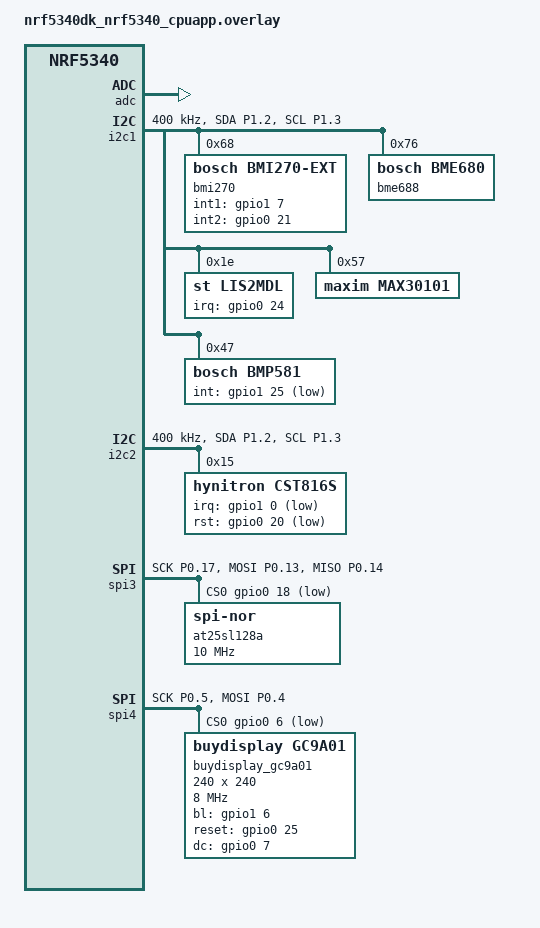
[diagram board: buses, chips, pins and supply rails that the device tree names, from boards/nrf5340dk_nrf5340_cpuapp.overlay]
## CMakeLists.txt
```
cmake_minimum_required(VERSION 3.20.0)

string(REGEX MATCH "zswatch_nrf5340_cpuapp(_ns)?@([0-9]+)$" ZSWATCH_BOARD "${BOARD}")
if(ZSWATCH_BOARD )
    set(ZSWATCH_REV ${CMAKE_MATCH_2})
    if(${ZSWATCH_REV} GREATER_EQUAL 2)
        set(DFU_BUILD true)
        set(PM_STATIC_YML_FILE ${CMAKE_CURRENT_SOURCE_DIR}/partition.yml)
        set(OVERLAY_CONFIG ${CMAKE_CURRENT_SOURCE_DIR}/boards/dfu.conf)
        set(mcuboot_DTC_OVERLAY_FILE ${CMAKE_CURRENT_SOURCE_DIR}/overlays/mcuboot.overlay)       
    endif()
endif()

set(BOARD_ROOT ${CMAKE_CURRENT_SOURCE_DIR})
find_package(Zephyr REQUIRED HINTS $ENV{ZEPHYR_BASE})
project(ZSWatchFw)

add_subdirectory(drivers)
add_subdirectory(src/applications)
add_subdirectory(src/ext_drivers/bmi270)
add_subdirectory(src/ext_drivers/bmp581)

include_directories(src/)
include_directories(src/ui)
include_directories(src/applications)

target_sources(app PRIVATE src/battery.c)
target_sources(app PRIVATE src/ble_aoa.c)
target_sources(app PRIVATE src/ble_comm.c)
target_sources(app PRIVATE src/ble_transport.c)
target_sources(app PRIVATE src/buttons.c)
target_sources(app PRIVATE src/display_control.c)
target_sources(app PRIVATE src/gpio_debug.c)
target_sources(app PRIVATE src/heart_rate_sensor.c)
target_sources(app PRIVATE src/main.c)
target_sources(app PRIVATE src/notification_manager.c)
target_sources(app PRIVATE src/ram_retention_storage.c)
target_sources(app PRIVATE src/vibration_motor.c)
target_sources(app PRIVATE src/watchface_app.c)
target_sources(app PRIVATE src/zsw_battery_manager.c)
target_sources(app PRIVATE src/zsw_clock.c)
target_sources(app PRIVATE src/zsw_charger.c)
target_sources(app PRIVATE src/zsw_cpu_freq.c)
target_sources(app PRIVATE src/zsw_env_sensor.c)
target_sources(app PRIVATE src/zsw_gatt_sensor_server.c)
target_sources(app PRIVATE src/zsw_imu.c)
target_sources(app PRIVATE src/zsw_magnetometer.c)
target_sources(app PRIVATE src/zsw_periodic_event.c)
target_sources(app PRIVATE src/zsw_phone_app_publisher.c)
target_sources(app PRIVATE src/zsw_power_manager.c)
target_sources(app PRIVATE src/zsw_pressure_sensor.c)

if (DFU_BUILD)
    target_sources(app PRIVATE src/dfu.c)
endif()

FILE(GLOB img_sources src/images/*.c)
target_sources(app PRIVATE ${img_sources})

FILE(GLOB font_sources src/images/fonts/*.c)
target_sources(app PRIVATE ${font_sources})

FILE(GLOB ui_sources src/ui/*.c)
target_sources(app PRIVATE ${ui_sources})
zephyr_sources_ifdef(CONFIG_WATCHFACE_ANALOG src/ui/watchfaces/zsw_watchface_analog_ui.c)
zephyr_sources_ifdef(CONFIG_WATCHFACE_DIGITAL src/ui/watchfaces/zsw_watchface_digital_ui.c)
zephyr_sources_ifdef(CONFIG_WATCHFACE_MINIMAL src/ui/watchfaces/zsw_watchface_minimal_ui.c)


FILE(GLOB events_sources src/events/*.c)
target_sources(app PRIVATE ${events_sources})

add_compile_definitions(LV_LVGL_H_INCLUDE_SIMPLE)

# BME688 BSEC implementation
set(bme688_bsec_lib_path ${CMAKE_CURRENT_SOURCE_DIR}/lib/bme688_bsec)
target_link_libraries(app PRIVATE ${bme688_bsec_lib_path}/bin/gcc/Cortex_M33/libalgobsec.a)
target_include_directories(app PRIVATE ${bme688_bsec_lib_path}/inc)
target_sources(app PRIVATE src/bme688_bsec/bme688_bsec.c)
```

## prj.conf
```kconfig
CONFIG_LV_Z_MEM_POOL_NUMBER_BLOCKS=8
CONFIG_MAIN_STACK_SIZE=1024
CONFIG_SYSTEM_WORKQUEUE_STACK_SIZE=4096
CONFIG_HEAP_MEM_POOL_SIZE=25000
CONFIG_NEWLIB_LIBC_FLOAT_PRINTF=y
CONFIG_CBPRINTF_FP_SUPPORT=y

CONFIG_ASSERT=y
CONFIG_REBOOT=y
CONFIG_DISPLAY=y
CONFIG_BASE64=y

CONFIG_I2C=y
CONFIG_SENSOR=y
CONFIG_ADC=y
CONFIG_BMI270=n
CONFIG_LIS2MDL=y
CONFIG_BME680=y


CONFIG_MAX30101=y
CONFIG_MAX30101_MULTI_LED_MODE=y
CONFIG_MAX30101_SLOT1=1
CONFIG_MAX30101_SLOT2=2
CONFIG_MAX30101_SLOT3=3
CONFIG_MAX30101_SLOT4=0

CONFIG_PINCTRL=y
CONFIG_PM_DEVICE=y
CONFIG_PM_DEVICE_RUNTIME=y

CONFIG_PWM=y

CONFIG_SPI=y
CONFIG_GC9A01=y
CONFIG_KSCAN_CST816S=n
CONFIG_KSCAN_MODIFIED_CST816S=y
CONFIG_KSCAN_CST816S_INTERRUPT=y
CONFIG_KSCAN=y
CONFIG_LV_Z_POINTER_KSCAN=y
CONFIG_LV_Z_POINTER_KSCAN_SWAP_XY=y
CONFIG_LV_Z_POINTER_KSCAN_INVERT_X=y
CONFIG_REGULATOR=y
CONFIG_REGULATOR_FIXED=y

CONFIG_LVGL=y
CONFIG_LV_MEM_CUSTOM=y
CONFIG_LV_FONT_MONTSERRAT_10=y
CONFIG_LV_FONT_MONTSERRAT_12=y
CONFIG_LV_FONT_MONTSERRAT_14=y
CONFIG_LV_FONT_MONTSERRAT_16=y
CONFIG_LV_FONT_MONTSERRAT_18=y
CONFIG_LV_FONT_MONTSERRAT_20=y

# Comment out to show FPS counter
#CONFIG_LV_USE_PERF_MONITOR=y
#CONFIG_LV_PERF_MONITOR_ALIGN_RIGHT_MID=y

CONFIG_LV_Z_DOUBLE_VDB=n
CONFIG_LV_Z_VDB_SIZE=25
CONFIG_LV_DISP_DEF_REFR_PERIOD=30
CONFIG_LV_INDEV_DEF_READ_PERIOD=30

CONFIG_LV_THEME_DEFAULT_DARK=y

# LVGL Size optimizations
CONFIG_LV_LABEL_TEXT_SELECTION=n
CONFIG_LV_LABEL_LONG_TXT_HINT=n
CONFIG_LV_USE_LOG=n
CONFIG_LV_USE_BAR=y
CONFIG_LV_USE_CANVAS=n
CONFIG_LV_USE_CHECKBOX=n
CONFIG_LV_USE_DROPDOWN=n
CONFIG_LV_USE_LINE=y
CONFIG_LV_USE_ROLLER=n
CONFIG_LV_USE_SLIDER=y
CONFIG_LV_USE_SWITCH=y
CONFIG_LV_USE_TABLE=n
CONFIG_LV_USE_TEXTAREA=n
CONFIG_LV_USE_FLEX=y
CONFIG_LV_USE_ANIMIMG=y
CONFIG_LV_USE_CALENDAR=n
CONFIG_LV_USE_CHART=y
CONFIG_LV_USE_COLORWHEEL=n
CONFIG_LV_USE_IMGBTN=y
CONFIG_LV_USE_KEYBOARD=n
CONFIG_LV_USE_LED=n
CONFIG_LV_USE_LIST=y
CONFIG_LV_USE_MENU=y
CONFIG_LV_USE_METER=y
CONFIG_LV_USE_MSGBOX=y
CONFIG_LV_USE_SPINBOX=n
CONFIG_LV_USE_SPINNER=n
CONFIG_LV_USE_TABVIEW=n
CONFIG_LV_USE_TILEVIEW=n
CONFIG_LV_USE_WIN=n
CONFIG_LV_USE_SPAN=n
CONFIG_LV_USE_USER_DATA=y

CONFIG_LV_COLOR_16_SWAP=y
CONFIG_LV_COLOR_DEPTH_16=y

#
# Memory settings
#
# CONFIG_LV_MEM_CUSTOM is not set
CONFIG_LV_MEM_SIZE_KILOBYTES=25
CONFIG_LV_MEM_ADDR=0x0
CONFIG_LV_MEM_BUF_MAX_NUM=16
# end of Memory settings

# NVS
CONFIG_FLASH=y
CONFIG_FLASH_MAP=y
CONFIG_MPU_ALLOW_FLASH_WRITE=y
CONFIG_FLASH_PAGE_LAYOUT=y

# Filesystem
CONFIG_FILE_SYSTEM=y
CONFIG_FILE_SYSTEM_LITTLEFS=y

CONFIG_SETTINGS=y
CONFIG_NVS=y
CONFIG_SETTINGS_NVS=y

# Bluetooth
CONFIG_BT=y
CONFIG_BT_HCI=y
CONFIG_BT_CTLR=n
# Enable Direction Finding TX Feature including AoA and AoD
CONFIG_BT_DF=y
CONFIG_BT_DF_CONNECTIONLESS_CTE_TX=y
#CONFIG_BT_RX_STACK_SIZE=2048
# Enable chaining of multiple CTEs in periodic advertising
CONFIG_BT_DEBUG_LOG=n
CONFIG_BT_SMP=y
CONFIG_BT_PERIPHERAL=y
CONFIG_BT_DIS=y
CONFIG_BT_DIS_PNP=n
CONFIG_BT_BAS=y
CONFIG_BT_HRS=n
CONFIG_BT_DEVICE_NAME="ZSWatch"
CONFIG_BT_DEVICE_APPEARANCE=194
CONFIG_BT_KEYS_OVERWRITE_OLDEST=y
CONFIG_BT_SETTINGS=y
CONFIG_BT_MAX_PAIRED=5
CONFIG_BT_MAX_CONN=1
CONFIG_BT_GATT_CLIENT=y
CONFIG_BT_GATT_CACHING=y
CONFIG_BT_GATT_NOTIFY_MULTIPLE=y

CONFIG_BT_EXT_ADV=y
CONFIG_BT_PER_ADV=y

CONFIG_BT_BROADCASTER=y
CONFIG_BT_SMP_ALLOW_UNAUTH_OVERWRITE=y
CONFIG_BT_ECC=y
CONFIG_BT_EXT_ADV_MAX_ADV_SET=2
CONFIG_BT_CONN_TX_MAX=3

CONFIG_BT_L2CAP_TX_MTU=498
CONFIG_BT_BUF_ACL_RX_SIZE=502
CONFIG_BT_BUF_ACL_TX_SIZE=502

# Allows to do some basic UI tasks in BT callbacks.
CONFIG_BT_RX_STACK_SIZE=3000

CONFIG_NEWLIB_LIBC=y
CONFIG_POSIX_API=y

CONFIG_PM=y

# Size optimizations
#CONFIG_SIZE_OPTIMIZATIONS=y
# CONFIG_THREAD_STACK_INFO=n

# By default disable UART to save power
CONFIG_SERIAL=n
CONFIG_CONSOLE=n
CONFIG_UART_CONSOLE=n

CONFIG_ZBUS=y
CONFIG_ZBUS_RUNTIME_OBSERVERS_POOL_SIZE=5
CONFIG_ZBUS_CHANNEL_NAME=y
CONFIG_ZBUS_OBSERVER_NAME=y
CONFIG_DISPLAY_FAST_WAKEUP=y
# Disable this to exclude flash intensive apps mean for demo only
CONFIG_DEMO_BUILD=n

# Choose one or many of below
CONFIG_WATCHFACE_ANALOG=n
CONFIG_WATCHFACE_DIGITAL=y
CONFIG_WATCHFACE_MINIMAL=y

# Choose one of below
CONFIG_WATCHFACE_BACKGROUND_SPACE=y
CONFIG_WATCHFACE_BACKGROUND_FLOWER=n
CONFIG_WATCHFACE_BACKGROUND_PLANET=n
CONFIG_WATCHFACE_BACKGROUND_NONE=n

CONFIG_LOG_BACKEND_BLE=y
CONFIG_LOG=y
CONFIG_LOG_PROCESS_THREAD_STACK_SIZE=4096
```

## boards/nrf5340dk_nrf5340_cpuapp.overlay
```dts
/*
 * Copyright (c) 2023 Jakob Krantz
 *
 * SPDX-License-Identifier: Apache-2.0
 */

 &pinctrl {
    // Set to I2C pins that the sensors are connected to
    i2c1_default: i2c1_default {
        group1 {
            psels = <NRF_PSEL(TWIM_SDA, 1, 2)>,
                <NRF_PSEL(TWIM_SCL, 1, 3)>;
        };
    };

    i2c1_sleep: i2c1_sleep {
        group1 {
            psels = <NRF_PSEL(TWIM_SDA, 1, 2)>,
                <NRF_PSEL(TWIM_SCL, 1, 3)>;
            low-power-enable;
        };
    };

    // Set to I2C pins that the touch screen is connected to
    i2c2_default: i2c2_default {
        group1 {
            psels = <NRF_PSEL(TWIM_SDA, 1, 2)>,
                <NRF_PSEL(TWIM_SCL, 1, 3)>;
        };
    };

    i2c2_sleep: i2c2_sleep {
        group1 {
            psels = <NRF_PSEL(TWIM_SDA, 1, 2)>,
                <NRF_PSEL(TWIM_SCL, 1, 3)>;
            low-power-enable;
        };
    };

	spi3_default: spi3_default {
		group1 {
			psels = <NRF_PSEL(SPIM_SCK, 0, 17)>,
				<NRF_PSEL(SPIM_MOSI, 0, 13)>,
				<NRF_PSEL(SPIM_MISO, 0, 14)>;
			};
	};

	spi3_sleep: spi3_sleep {
		group1 {
			psels = <NRF_PSEL(SPIM_SCK, 0, 17)>,
				<NRF_PSEL(SPIM_MOSI, 0, 13)>,
				<NRF_PSEL(SPIM_MISO, 0, 14)>;
			low-power-enable;
		};
	};

    // Set to the pins that the display is connected to
    spi4_default: spi4_default {
        group1 {
            psels = <NRF_PSEL(SPIM_SCK, 0, 5)>,
                <NRF_PSEL(SPIM_MOSI, 0, 4)>;
        };
    };

    spi4_sleep: spi4_sleep {
        group1 {
            psels = <NRF_PSEL(SPIM_SCK, 0, 5)>,
                <NRF_PSEL(SPIM_MOSI, 0, 4)>;
            low-power-enable;
        };
    };

};

/ {
    chosen {
        zephyr,display = &gc9a01;
        zephyr,keyboard-scan = &cst816s;
        nordic,pm-ext-flash = &at25sl128a;
    };
    aliases {
        sw-top-right = &button1;
        sw-top-left = &button0;
        sw-bottom-right = &button3;
        sw-bottom-left = &button2;
        magn = &lis2mdl;
        accel = &bmi270;
        kscan0 = &cst816s;
    };
};

&adc {
    status = "okay";
};

&gpiote {
    status = "okay";
};

&gpio0 {
    status = "okay";
    sense-edge-mask = < 0xffffffff >;
};

&gpio1 {
    status = "okay";
};

&i2c1 {
    compatible = "nordic,nrf-twim";
    status = "okay";
    clock-frequency = <I2C_BITRATE_FAST>;
    zephyr,concat-buf-size = <512>;
    pinctrl-0 = <&i2c1_default>;
    pinctrl-1 = <&i2c1_sleep>;
    pinctrl-names = "default", "sleep";

    bmi270: bmi270@68 {
        compatible = "bosch,bmi270-ext";
        reg = <0x68>;
        int1-gpios = <&gpio1 7 GPIO_ACTIVE_HIGH>;
        int2-gpios = <&gpio0 21 GPIO_ACTIVE_HIGH>;
    };

    bme688: bme688@76 {
        compatible = "bosch,bme680";
        reg = <0x76>;
    };

    lis2mdl: lis2mdl@1e {
        compatible = "st,lis2mdl";
        reg = <0x1e>;
        irq-gpios = <&gpio0 24 0>;
    };

    max30101@57 {
        status = "okay";
        compatible = "maxim,max30101";
        reg = <0x57>;
        //irq-gpios = <&gpio0 22 GPIO_ACTIVE_HIGH; // Not supported by Zephyr driver
    };

    bmp581: bmp581@47 {
        compatible = "bosch,bmp581";
        reg = <0x47>;
        int-gpios = <&gpio1 25 (GPIO_PULL_UP | GPIO_ACTIVE_LOW)>;
    };
};

&i2c2 {
    compatible = "nordic,nrf-twim";
    status = "okay";
    clock-frequency = <I2C_BITRATE_FAST>;
    pinctrl-0 = <&i2c2_default>;
    pinctrl-1 = <&i2c2_sleep>;
    pinctrl-names = "default", "sleep";

    cst816s: cst816s@15 {
        compatible = "hynitron,cst816s";
        reg = <0x15>;
        irq-gpios = <&gpio1 0 GPIO_ACTIVE_LOW>;
        rst-gpios = <&gpio0 20 GPIO_ACTIVE_LOW>;
    };
};

&spi3  {
    status = "okay";
    compatible = "nordic,nrf-spim";
    pinctrl-0 = <&spi3_default>;
    pinctrl-1 = <&spi3_sleep>;
    pinctrl-names = "default", "sleep";
    // Use Integrated flash MX25R6435F from DK 
    cs-gpios = <&gpio0 18 GPIO_ACTIVE_LOW>;
    at25sl128a: at25sl128a@0 {
		compatible = "jedec,spi-nor";
		reg = <0>;
		status = "okay";
		spi-max-frequency = <10000000>;
		jedec-id = [c2 28 17];
		size = <DT_SIZE_M(8*8)>;
		has-dpd;
		t-enter-dpd = <10000>;
		t-exit-dpd = <35000>;
	};

};

&spi4  {
    status = "okay";
    compatible = "nordic,nrf-spim";
    pinctrl-0 = <&spi4_default>;
    pinctrl-1 = <&spi4_sleep>;
    pinctrl-names = "default", "sleep";
    cs-gpios = <&gpio0 6 GPIO_ACTIVE_LOW>;

    gc9a01: gc9a01@0 {
        compatible = "buydisplay,gc9a01";
        status = "okay";
        spi-max-frequency = <8000000>;
        reg = <0>;
        width = <240>;
        label = "buydisplay_gc9a01";
        height = <240>;
        bl-gpios = <&gpio1 6 GPIO_ACTIVE_HIGH>;
        reset-gpios = <&gpio0 25 GPIO_ACTIVE_HIGH>;
        dc-gpios = <&gpio0 7 GPIO_ACTIVE_HIGH>;
    };
};

&qspi{
    status="disabled";
};
```

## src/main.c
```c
#include <zephyr/device.h>
#include <zephyr/drivers/display.h>
#include <zephyr/sys/reboot.h>
#include <stdio.h>
#include <string.h>
#include <zephyr/kernel.h>
#include <buttons.h>
#include <battery.h>
#include <gpio_debug.h>
#include <zephyr/drivers/sensor.h>
#include <zephyr/drivers/pwm.h>
#include <zephyr/bluetooth/bluetooth.h>
#include <zephyr/settings/settings.h>
#include <zephyr/drivers/led.h>
#include <zephyr/logging/log.h>
#include <zsw_clock.h>
#include <lvgl.h>
#include "watchface_app.h"
#include <heart_rate_sensor.h>
#include <sys/time.h>
#include <ram_retention_storage.h>
#include <zsw_imu.h>
#include <ble_comm.h>
#include <ble_aoa.h>
#include <zsw_popup_notifcation.h>
#include <notification_manager.h>
#include <vibration_motor.h>
#include <display_control.h>
#include <applications/application_manager.h>
#include <events/ble_data_event.h>
#include <events/accel_event.h>
#include <zsw_magnetometer.h>
#include <zsw_pressure_sensor.h>
#include <zephyr/zbus/zbus.h>
#include <zsw_cpu_freq.h>
#include <zsw_charger.h>
#include <zsw_power_manager.h>
#include <zephyr/bluetooth/bluetooth.h>
#include <zephyr/bluetooth/hci.h>
#include <zephyr/task_wdt/task_wdt.h>
#include <zephyr/arch/cpu.h>
#include <zephyr/logging/log_ctrl.h>
#include <zephyr/fatal.h>
#include "bme688_bsec/bme688_bsec.h"
#include "dfu.h"

LOG_MODULE_REGISTER(main, LOG_LEVEL_WRN);

#define TASK_WDT_FEED_INTERVAL_MS  3000

typedef enum ui_state {
    INIT_STATE,
    WATCHFACE_STATE,
    APPLICATION_MANAGER_STATE,
} ui_state_t;

static void run_init_work(struct k_work *item);

static void run_wdt_work(struct k_work *item);
static void enable_bluetoth(void);
static bool load_retention_ram(void);
static void enocoder_read(struct _lv_indev_drv_t *indev_drv, lv_indev_data_t *data);
static void click_feedback(struct _lv_indev_drv_t *drv, uint8_t e);
static void play_not_vibration(void);
static void ble_data_cb(ble_comm_cb_data_t *cb);
static void open_notification_popup(void *data);
static void async_turn_off_buttons_allocation(void *unused);
static void on_popup_notifcation_closed(uint32_t id);
static void zbus_ble_comm_data_callback(const struct zbus_channel *chan);

static void onButtonPressCb(buttonPressType_t type, buttonId_t id);
static void screen_gesture_event(lv_event_t *e);

static void open_application_manager_page(void *app_name);
static void on_close_application_manager(void);

K_WORK_DELAYABLE_DEFINE(wdt_work, run_wdt_work);
static int kernal_wdt_id;

static bool buttons_allocated = false;
static lv_group_t *input_group;
static lv_group_t *temp_group;

static lv_indev_drv_t enc_drv;
static lv_indev_t *enc_indev;
static buttonId_t last_pressed;

static bool vibrator_on = false;

static ui_state_t watch_state = INIT_STATE;

K_WORK_DEFINE(init_work, run_init_work);

ZBUS_CHAN_DECLARE(ble_comm_data_chan);
ZBUS_LISTENER_DEFINE(main_ble_comm_lis, zbus_ble_comm_data_callback);

static void run_init_work(struct k_work *item)
{
    bme688_init();
    enable_bluetoth();

/*
    lv_indev_t *touch_indev;

    load_retention_ram();
    heart_rate_sensor_init();
    notification_manager_init();
    enable_bluetoth();
    zsw_imu_init();
    zsw_magnetometer_init();
    zsw_pressure_sensor_init();
    zsw_clock_init(retained.current_time_seconds);
    buttonsInit(&onButtonPressCb);
    vibration_motor_init();
    vibration_motor_set_on(false);
    // Not to self, PWM consumes like 250uA...
    // Need to disable also when screen is off.
    display_control_init();
    display_control_sleep_ctrl(true);

    lv_indev_drv_init(&enc_drv);
    enc_drv.type = LV_INDEV_TYPE_ENCODER;
    enc_drv.read_cb = enocoder_read;
    enc_drv.feedback_cb = click_feedback;
    enc_indev = lv_indev_drv_register(&enc_drv);

    input_group = lv_group_create();
    temp_group = lv_group_create();
    lv_group_set_default(input_group);
    lv_indev_set_group(enc_indev, input_group);

    touch_indev = lv_indev_get_next(NULL);
    while (touch_indev) {
        if (lv_indev_get_type(touch_indev) == LV_INDEV_TYPE_POINTER) {
            // TODO First fix so not all presses everywhere are registered as clicks and cause vibration
            // Clicking anywehere with this below added right now will cause a vibration, which
            // is not what we want
            // touch_indev->driver->feedback_cb = click_feedback;
            break;
        }
        touch_indev = lv_indev_get_next(touch_indev);
    }

    watch_state = WATCHFACE_STATE;
    lv_obj_add_event_cb(lv_scr_act(), screen_gesture_event, LV_EVENT_GESTURE, NULL);
    watchface_app_start(input_group);
*/
}

void run_wdt_work(struct k_work *item)
{
    task_wdt_feed(kernal_wdt_id);
    k_work_schedule(&wdt_work, K_MSEC(TASK_WDT_FEED_INTERVAL_MS));
}

int main(void)
{
#ifdef CONFIG_TASK_WDT
    const struct device *hw_wdt_dev = DEVICE_DT_GET(DT_ALIAS(watchdog0));
    if (!device_is_ready(hw_wdt_dev)) {
        printk("Hardware watchdog %s is not ready; ignoring it.\n",
               hw_wdt_dev->name);
        hw_wdt_dev = NULL;
    }

    task_wdt_init(hw_wdt_dev);
    kernal_wdt_id = task_wdt_add(TASK_WDT_FEED_INTERVAL_MS * 2, NULL, NULL);

    k_work_schedule(&wdt_work, K_NO_WAIT);
#endif
    // The init code requires a bit of stack.
    // So in order to not increase CONFIG_MAIN_STACK_SIZE and loose
    // this RAM forever, instead re-use the system workqueue for init
    // it has the required amount of stack.
    k_work_submit(&init_work);

    return 0;
}

static void enable_bluetoth(void)
{
    int err;

#ifdef CONFIG_BOARD_NATIVE_POSIX
    bt_addr_le_t addr;

    err = bt_addr_le_from_str("DE:AD:BE:EF:BA:11", "random", &addr);
    if (err) {
        LOG_ERR("Invalid BT address (err %d)", err);
    }

    err = bt_id_create(&addr, NULL);
    if (err < 0) {
        LOG_ERR("Creating new ID failed (err %d)", err);
    }
#endif

    err = bt_enable(NULL);
    if (err != 0) {
        LOG_ERR("Failed to enable Bluetooth, err: %d", err);
        return;
    }

#ifdef CONFIG_SETTINGS
    settings_load();
#endif

    __ASSERT_NO_MSG(ble_comm_init(ble_data_cb) == 0);
    bleAoaInit();
}

static bool load_retention_ram(void)
{
    bool retained_ok = retained_validate();
    //memset(&retained, 0, sizeof(retained));
    /* Increment for this boot attempt and update. */
    retained.boots += 1;
    retained_update();

    printk("Retained data: %s\n", retained_ok ? "valid" : "INVALID");
    printk("Boot count: %u\n", retained.boots);
    printk("uptime_latest: %" PRIu64 "\n", retained.uptime_latest);
    printk("Active Ticks: %" PRIu64 "\n", retained.uptime_sum);

    return retained_ok;
}

static void open_notification_popup(void *data)
{
    not_mngr_notification_t *not = notification_manager_get_newest();
    if (not != NULL) {
        lv_group_set_default(temp_group);
        lv_indev_set_group(enc_indev, temp_group);
        play_not_vibration();
        zsw_notification_popup_show(not->title, not->body, not->src, not->id, on_popup_notifcation_closed, 10);
        buttons_allocated = true;
    }
}

static void open_application_manager_page(void *app_name)
{
    watchface_app_stop();
    buttons_allocated = true;
    watch_state = APPLICATION_MANAGER_STATE;
    application_manager_show(on_close_application_manager, lv_scr_act(), input_group, (char *)app_name);
}

static void play_press_vibration(void)
{
    vibrator_on = true;
    vibration_motor_set_on(true);
    vibration_motor_set_power(75);
    k_msleep(100);
    vibration_motor_set_power(75);
    vibration_motor_set_on(false);
    vibration_motor_set_power(0);
    vibrator_on = false;
}

static void play_not_vibration(void)
{
    vibrator_on = true;
    vibration_motor_set_power(100);
    vibration_motor_set_on(true);
    k_msleep(50);
    vibration_motor_set_on(false);
    k_msleep(50);
    vibration_motor_set_on(true);
    k_msleep(50);
    vibration_motor_set_on(false);
    k_msleep(50);
    vibration_motor_set_power(0);
    vibration_motor_set_on(true);
    k_msleep(50);
    vibration_motor_set_on(false);
    vibrator_on = false;
}

static void close_popup_notification(lv_timer_t *timer)
{
    // Notification was dismissed, hence consider it read.
    // TODO send to phone that the notification was read.
    uint32_t id = (uint32_t)timer->user_data;
    notification_manager_remove(id);

    lv_group_set_default(input_group);
    lv_indev_set_group(enc_indev, input_group);
    if (watch_state == WATCHFACE_STATE) {
        buttons_allocated = 0;
    } else {
        buttons_allocated = 1;
    }
}

static void on_popup_notifcation_closed(uint32_t id)
{
    lv_timer_t *timer;
    // Changing back input group directly here causes LVGL
    // to not remove the notifcation for some reason.
    // Maybe a bug, or something done wrong.
    // Anyway doing it after a while instead seems to fix
    // the problem.
    timer = lv_timer_create(close_popup_notification, 500,  (void *)id);
    lv_timer_set_repeat_count(timer, 1);
}

static void on_close_application_manager(void)
{
    application_manager_delete();
    watch_state = WATCHFACE_STATE;
    watchface_app_start(input_group);
    lv_async_call(async_turn_off_buttons_allocation, NULL);
}

static void async_turn_off_buttons_allocation(void *unused)
{
    buttons_allocated = false;
}

static void onButtonPressCb(buttonPressType_t type, buttonId_t id)
{
    LOG_WRN("Pressed %d, type: %d", id, type);

    if (zsw_power_manager_reset_idle_timout()) {
        // Don't process the press if it caused wakeup.
        return;
    }

    // Always allow force restart
    if (type == BUTTONS_LONG_PRESS && id == BUTTON_TOP_LEFT) {
        retained.off_count += 1;
        retained_update();
        sys_reboot(SYS_REBOOT_COLD);
    }

    if (id == BUTTON_BOTTOM_RIGHT && zsw_notification_popup_is_shown()) {
        zsw_notification_popup_remove();
    } else if (id == BUTTON_BOTTOM_RIGHT && watch_state == APPLICATION_MANAGER_STATE) {
        application_manager_exit_app();
        return;
    }

    if (buttons_allocated) {
        // Handled by LVGL
        return;
    }

    // A bit hacky, but if we consumed the fake press in the callback
    // we need to clear it, otherwise LVGL will think the button is still pressed later.
    // Clear it by reading the button.
    button_read(id);

    if (type == BUTTONS_SHORT_PRESS && watch_state == WATCHFACE_STATE) {
        play_press_vibration();
        if (id == BUTTON_TOP_LEFT) {
            LOG_DBG("Close Watchface, open App Manager");
            lv_async_call(open_application_manager_page, NULL);
        } else {
            LOG_WRN("Unhandled button %d, type: %d, watch_state: %d", id, type, watch_state);
        }
    } else {
        if (id == BUTTON_TOP_LEFT) {
            retained.off_count += 1;
            retained_update();
            sys_reboot(SYS_REBOOT_COLD);
        } else {
            LOG_WRN("Unhandled button %d, type: %d, watch_state: %d", id, type, watch_state);
        }
    }
}

static void enocoder_read(struct _lv_indev_drv_t *indev_drv, lv_indev_data_t *data)
{
    if (!buttons_allocated) {
        return;
    }
    if (button_read(BUTTON_TOP_LEFT)) {
        data->key = LV_KEY_LEFT;
        data->state = LV_INDEV_STATE_PR;
        last_pressed = BUTTON_TOP_LEFT;
    } else if (button_read(BUTTON_TOP_RIGHT)) {
        data->key = LV_KEY_ENTER;
        data->state = LV_INDEV_STATE_PR;
        last_pressed = BUTTON_TOP_RIGHT;
    } else if (button_read(BUTTON_BOTTOM_LEFT)) {
        data->key = LV_KEY_RIGHT;
        data->state = LV_INDEV_STATE_PR;
        last_pressed = BUTTON_BOTTOM_LEFT;
    } else if (button_read(BUTTON_BOTTOM_RIGHT)) {
        // Not used for now. TODO exit/back button.
    } else {
        if (last_pressed == 0xFF) {
            return;
        }
        data->state = LV_INDEV_STATE_REL;
        switch (last_pressed) {
            case BUTTON_TOP_LEFT:
                data->key = LV_KEY_RIGHT;
                break;
            case BUTTON_TOP_RIGHT:
                data->key = LV_KEY_ENTER;
                break;
            case BUTTON_BOTTOM_LEFT:
                data->key = LV_KEY_LEFT;
                break;
            default:
                break;
        }
        last_pressed = 0xFF;
    }
}

static void screen_gesture_event(lv_event_t *e)
{
    lv_event_code_t event = lv_event_get_code(e);
    if (event == LV_EVENT_GESTURE) {
        lv_dir_t  dir = lv_indev_get_gesture_dir(lv_indev_get_act());

        if (watch_state == WATCHFACE_STATE && !zsw_notification_popup_is_shown()) {
            switch (dir) {
                case LV_DIR_BOTTOM:
                    open_application_manager_page(NULL);
                    break;
                case LV_DIR_TOP:
                    open_application_manager_page("Settings");
                    break;
                case LV_DIR_RIGHT:
                    watchface_change();
                    break;
                case LV_DIR_LEFT:
                    open_application_manager_page("Notification");
                    break;
                default:
                    __ASSERT_NO_MSG(0);
            }
            lv_indev_wait_release(lv_indev_get_act());
        } else if (zsw_notification_popup_is_shown()) {
            zsw_notification_popup_remove();
        } else if (watch_state == APPLICATION_MANAGER_STATE && dir == LV_DIR_RIGHT) {
#ifdef CONFIG_BOARD_NATIVE_POSIX
            // Until there is a better way to go back without access to buttons.
            application_manager_exit_app();
#endif
        }
    }
}

void click_feedback(struct _lv_indev_drv_t *drv, uint8_t e)
{
    if (e == LV_EVENT_CLICKED) {
        if (!vibrator_on) {
            play_press_vibration();
        }
    }
}

static void ble_data_cb(ble_comm_cb_data_t *cb)
{
    not_mngr_notification_t *parsed_not;

    switch (cb->type) {
        case BLE_COMM_DATA_TYPE_NOTIFY:
            parsed_not = notification_manager_add(&cb->data.notify);
            if (!parsed_not) {
                return;
            }

            if (zsw_notification_popup_is_shown()) {
                return;
            }

            if (zsw_power_manager_get_state() != ZSW_ACTIVITY_STATE_NOT_WORN_STATIONARY) {
                zsw_power_manager_reset_idle_timout();
                lv_async_call(open_notification_popup, NULL);
            }
            break;

        default:
            break;
    }
}

static void zbus_ble_comm_data_callback(const struct zbus_channel *chan)
{
    const struct ble_data_event *event = zbus_chan_const_msg(chan);
    switch (event->data.type) {
        case BLE_COMM_DATA_TYPE_NOTIFY:
            // TODO, this one not supported yet through events
            // Handled in ble_comm callback for now
            break;
        case BLE_COMM_DATA_TYPE_NOTIFY_REMOVE:
            if (notification_manager_remove(event->data.data.notify_remove.id) != 0) {
                LOG_WRN("Notification %d not found", event->data.data.notify_remove.id);
            }
            break;
        case BLE_COMM_DATA_TYPE_SET_TIME: {
            struct timespec tspec;
            tspec.tv_sec = event->data.data.time.seconds;
            tspec.tv_nsec = 0;
            clock_settime(CLOCK_REALTIME, &tspec);
            break;
        }
        case BLE_COMM_DATA_TYPE_WEATHER:
            break;
        case BLE_COMM_DATA_TYPE_REMOTE_CONTROL:
            if (event->data.data.remote_control.button == BUTTON_END) {
                zsw_power_manager_reset_idle_timout();
                if (watch_state == APPLICATION_MANAGER_STATE) {
                    application_manager_delete();
                    application_manager_set_index(0);
                    buttons_allocated = false;
                    watch_state = WATCHFACE_STATE;
                    watchface_app_start(input_group);
                }
            } else {
                button_set_fake_press((buttonId_t)event->data.data.remote_control.button, true);
            }

            break;
        default:
            break;
    }
}

#if defined(CONFIG_WATCHDOG) && !defined(CONFIG_RESET_ON_FATAL_ERROR)
extern void sys_arch_reboot(int type);

void k_sys_fatal_error_handler(unsigned int reason, const z_arch_esf_t *esf)
{
    ARG_UNUSED(esf);
    ARG_UNUSED(reason);

    LOG_PANIC();

    LOG_ERR("Resetting system");
    sys_arch_reboot(0);

    CODE_UNREACHABLE;
}
#endif
```
